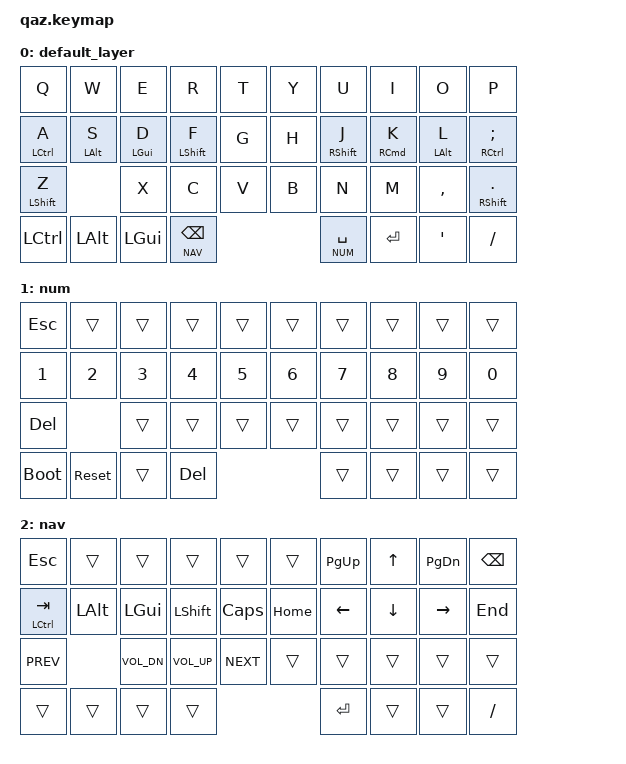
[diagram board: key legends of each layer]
/*
 * Copyright (c) 2020 The ZMK Contributors
 *
 * SPDX-License-Identifier: MIT
 */

#include <behaviors.dtsi>
#include <dt-bindings/zmk/keys.h>
#include <dt-bindings/zmk/bt.h>
#include <dt-bindings/zmk/outputs.h>

#define BASE 0
#define NUM  1
#define NAV  2

/ {
    behaviors {
        #include "behaviors.dtsi"
    };

    combos {
        #include "qaz_combos.dtsi"
    };    

    keymap {
        compatible = "zmk,keymap";

        default_layer {
            bindings = <
                &kp Q       &kp W      &kp E      &kp R       &kp T  &kp Y  &kp U       &kp I      &kp O      &kp P
                &hm LCTRL A &hm LALT S &hm LGUI D &hm LSHFT F &kp G  &kp H  &hm RSHFT J &hm RCMD K &hm LALT L &hm RCTRL SEMI
                &hm LSHFT Z            &kp X      &kp C       &kp V  &kp B  &kp N       &kp M      &kp COMMA  &hm RSHFT DOT
                &kp LCTRL   &kp LALT   &kp LGUI     &lt NAV BSPC    &lt NUM SPACE       &kp RET   &kp SQT   &kp FSLH
                >;
        };
        num {
            bindings = <
                &kp ESC     &trans     &trans     &trans     &trans &trans &trans     &trans      &trans    &trans
                &kp N1      &kp N2     &kp N3     &kp N4     &kp N5 &kp N6 &kp N7     &kp N8      &kp N9    &kp N0
                &kp DEL                &trans     &trans     &trans &trans &trans     &trans      &trans    &trans
                &bootloader &sys_reset &trans     &kp DEL       &trans             &trans      &trans    &trans
                >;
        };

        nav {
            bindings = <
                &kp ESC      &trans       &trans       &trans       &trans     &trans   &kp PG_UP   &kp UP       &kp PG_DN &kp BSPC
                &hm LCTL TAB &kp LALT     &kp LGUI     &kp LSHFT    &kp CAPS   &kp HOME &kp LEFT    &kp DOWN     &kp RIGHT &kp END
                &kp C_PREV                &kp C_VOL_DN &kp C_VOL_UP &kp C_NEXT &trans   &trans      &trans       &trans    &trans
                &trans       &trans       &trans       &trans                  &kp RET              &trans       &trans    &kp FSLH
                >;
        };
    };
};

